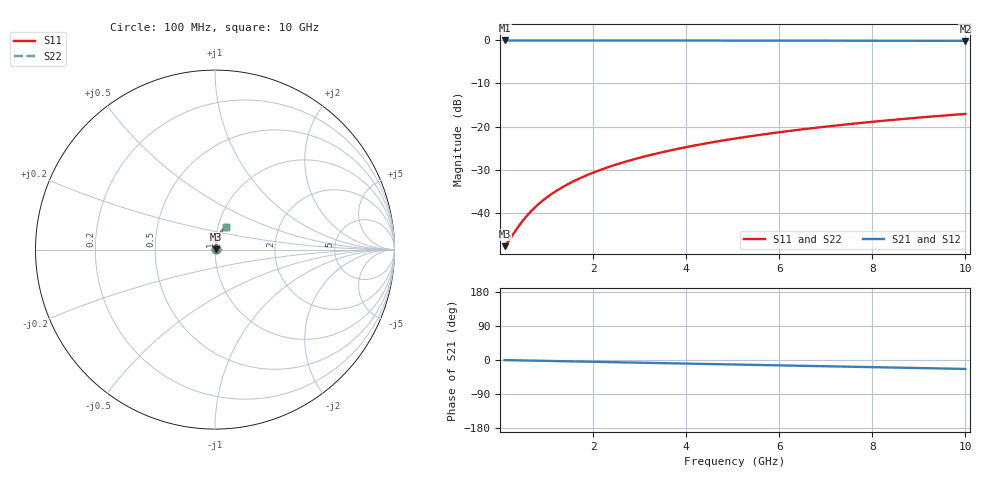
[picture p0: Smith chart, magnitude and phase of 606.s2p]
# Hz S RI R 50.00
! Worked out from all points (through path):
!   100 points, 100 MHz to 10 GHz, reference 50 ohm
!   highest |S21| = -0.03 dB at 100 MHz (marker M1); lowest = -0.1 dB at 10 GHz (marker M2)
!   group delay of S21, straight-line fit = 6.54 ps
!   lowest |S11| = -47.7 dB at 100 MHz (marker M3), VSWR 1.01, Z = 50.4 + j0.145 ohm
!   |S11| at or under -10 dB: start of sweep to end of sweep
!   |S22| runs from -47.7 to -17.0 dB; largest |S21 - S12| = 0
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1e8  0.00388 0.00144  0.9961 -0.00411  0.9961 -0.00411  0.00388 0.00144
2e8  0.00392 0.00287  0.9961 -0.00821  0.9961 -0.00821  0.00392 0.00287
4e8  0.00402 0.00575  0.9959 -0.0164  0.9959 -0.0164  0.00402 0.00575
5e8  0.00409 0.00718  0.9958 -0.0205  0.9958 -0.0205  0.00409 0.00718
6e8  0.00416 0.00862  0.9957 -0.0246  0.9957 -0.0246  0.00416 0.00862
7e8  0.00425 0.0101  0.9956 -0.0287  0.9956 -0.0287  0.00425 0.0101
8e8  0.00435 0.0115  0.9954 -0.0328  0.9954 -0.0328  0.00435 0.0115
1e9  0.00458 0.0143  0.995 -0.0411  0.995 -0.0411  0.00458 0.0143
1.2e9  0.00485 0.0172  0.9946 -0.0493  0.9946 -0.0493  0.00485 0.0172
1.5e9  0.00535 0.0215  0.9938 -0.0615  0.9938 -0.0615  0.00535 0.0215
1.8e9  0.00595 0.0258  0.9928 -0.0738  0.9928 -0.0738  0.00595 0.0258
2.1e9  0.00665 0.03  0.9917 -0.0861  0.9917 -0.0861  0.00665 0.03
2.5e9  0.00775 0.0356  0.9899 -0.1024  0.9899 -0.1024  0.00775 0.0356
2.9e9  0.00904 0.0412  0.9879 -0.1187  0.9879 -0.1187  0.00904 0.0412
3.4e9  0.0109 0.0481  0.9849 -0.1389  0.9849 -0.1389  0.0109 0.0481
4.2e9  0.0145 0.059  0.9791 -0.1712  0.9791 -0.1712  0.0145 0.059
5.1e9  0.0193 0.071  0.9712 -0.2072  0.9712 -0.2072  0.0193 0.071
5.9e9  0.0244 0.0812  0.963 -0.2388  0.963 -0.2388  0.0244 0.0812
6.7e9  0.0301 0.0911  0.9536 -0.27  0.9536 -0.27  0.0301 0.0911
7.5e9  0.0364 0.1006  0.9432 -0.3008  0.9432 -0.3008  0.0364 0.1006
8.4e9  0.0442 0.1107  0.9301 -0.3348  0.9301 -0.3348  0.0442 0.1107
1e10  0.0599 0.1272  0.9036 -0.3937  0.9036 -0.3937  0.0599 0.1272
